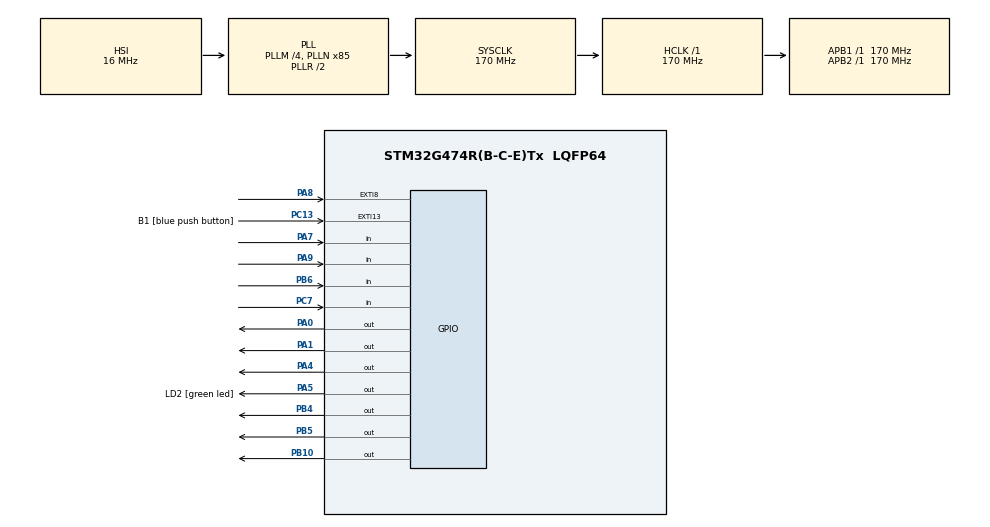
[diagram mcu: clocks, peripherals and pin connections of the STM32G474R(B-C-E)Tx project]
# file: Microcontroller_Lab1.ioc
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Mcu.Family=STM32G4
Mcu.Name=STM32G474R(B-C-E)Tx
Mcu.Package=LQFP64
NVIC.EXTI15_10_IRQn=true\:0\:0\:false\:false\:true\:true\:true\:true
NVIC.EXTI9_5_IRQn=true\:0\:0\:false\:false\:true\:true\:true\:true
NVIC.PriorityGroup=NVIC_PRIORITYGROUP_4
PA0.Signal=GPIO_Output
PA1.Signal=GPIO_Output
PA13.GPIO_Label=T_SWDIO
PA13.Signal=SYS_JTMS-SWDIO
PA14.GPIO_Label=T_SWCLK
PA14.Signal=SYS_JTCK-SWCLK
PA2.GPIO_Label=LPUART1_TX [STLINKV3E_VCP_RX]
PA2.Signal=LPUART1_TX
PA3.GPIO_Label=LPUART1_RX [STLINKV3E_VCP_TX]
PA3.Signal=LPUART1_RX
PA4.Signal=GPIO_Output
PA5.GPIO_Label=LD2 [green led]
PA5.Signal=GPIO_Output
PA7.GPIO_PuPd=GPIO_PULLUP
PA7.Signal=GPIO_Input
PA8.GPIO_ModeDefaultEXTI=GPIO_MODE_IT_RISING
PA8.Signal=GPXTI8
PA9.GPIO_Mode=GPIO_MODE_INPUT
PA9.GPIO_PuPd=GPIO_PULLUP
PA9.Signal=GPIO_Input
PB10.GPIO_ModeDefaultOutputPP=GPIO_MODE_OUTPUT_OD
PB10.GPIO_PuPd=GPIO_NOPULL
PB10.Signal=GPIO_Output
PB3.GPIO_Label=T_SWO
PB3.Signal=SYS_JTDO-SWO
PB4.GPIO_ModeDefaultOutputPP=GPIO_MODE_OUTPUT_OD
PB4.GPIO_PuPd=GPIO_NOPULL
PB4.Signal=GPIO_Output
PB5.GPIO_ModeDefaultOutputPP=GPIO_MODE_OUTPUT_OD
PB5.GPIO_PuPd=GPIO_NOPULL
PB5.Signal=GPIO_Output
PB6.GPIO_PuPd=GPIO_PULLUP
PB6.Signal=GPIO_Input
PC13.GPIO_Label=B1 [blue push button]
PC13.Signal=GPXTI13
PC14-OSC32_IN.GPIO_Label=RCC_OSC32_IN
PC14-OSC32_IN.Signal=RCC_OSC32_IN
PC15-OSC32_OUT.GPIO_Label=RCC_OSC32_OUT
PC15-OSC32_OUT.Signal=RCC_OSC32_OUT
PC7.GPIO_PuPd=GPIO_PULLUP
PC7.Signal=GPIO_Input
PF0-OSC_IN.GPIO_Label=RCC_OSC_IN
PF0-OSC_IN.Signal=RCC_OSC_IN
PF1-OSC_OUT.GPIO_Label=RCC_OSC_OUT
PF1-OSC_OUT.Signal=RCC_OSC_OUT
ProjectManager.HeapSize=0x200
ProjectManager.StackSize=0x400
ProjectManager.TargetToolchain=STM32CubeIDE
RCC.ADC12Freq_Value=170000000
RCC.ADC345Freq_Value=170000000
RCC.AHBFreq_Value=170000000
RCC.APB1Freq_Value=170000000
RCC.APB1TimFreq_Value=170000000
RCC.APB2Freq_Value=170000000
RCC.APB2TimFreq_Value=170000000
RCC.CortexFreq_Value=170000000
RCC.EXTERNAL_CLOCK_VALUE=12288000
RCC.HCLKFreq_Value=170000000
RCC.HSE_VALUE=24000000
RCC.HSI48_VALUE=48000000
RCC.HSI_VALUE=16000000
RCC.LSE_VALUE=32768
RCC.PLLM=RCC_PLLM_DIV4
RCC.PLLN=85
RCC.RTCClockSelection=RCC_RTCCLKSOURCE_LSE
RCC.SYSCLKFreq_VALUE=170000000
RCC.SYSCLKSource=RCC_SYSCLKSOURCE_PLLCLK
RCC.USBFreq_Value=170000000
RCC.VCOOutputFreq_Value=340000000
VP_SYS_VS_DBSignals.Mode=DisableDeadBatterySignals
board=NUCLEO-G474RE

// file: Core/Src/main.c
/* USER CODE BEGIN Header */
/**
 ******************************************************************************
 * @file           : main.c
 * @brief          : Main program body
 ******************************************************************************
 * @attention
 *
 * Copyright (c) 2025 STMicroelectronics.
 * All rights reserved.
 *
 * This software is licensed under terms that can be found in the LICENSE file
 * in the root directory of this software component.
 * If no LICENSE file comes with this software, it is provided AS-IS.
 *
 ******************************************************************************
 */
/* USER CODE END Header */
#include "main.h"

/* USER CODE BEGIN PV */
struct _ButMtx_Struct {
	GPIO_TypeDef *Port;
	uint16_t Pin;
};

struct _ButMtx_Struct BMX_L[4] = { { GPIOA, GPIO_PIN_9 }, { GPIOC, GPIO_PIN_7 },
		{ GPIOB, GPIO_PIN_6 }, { GPIOA, GPIO_PIN_7 } };

struct _ButMtx_Struct BMX_R[3] = { { GPIOB, GPIO_PIN_5 }, { GPIOB, GPIO_PIN_4 },
		{ GPIOB, GPIO_PIN_10 } };

uint16_t ButtonState = 0;
uint16_t input = 0;
int inputCount = 0;
int MAX_INPUT = 11;
int state_input = 0;
int state_check = 0;
int correct_count = 0;
int wrong_count = 0;
uint16_t States_input[4] = { 0, 0, 0, 0 };
uint16_t pressedValues[11];
uint16_t password[11] = { 6, 7, 3, 4, 0, 5, 0, 0, 0, 3, 2 };
/* USER CODE END PV */

void SystemClock_Config(void);
static void MX_GPIO_Init(void);
/* USER CODE BEGIN PFP */
void ButtonMatrixRead();
int getButtonInde();
int getButtonIndex(uint16_t ButtonState);
void getOutput(int value);
void getLed(uint16_t States_input[4]);
/* USER CODE END PFP */

int main(void)
{

  /* MCU Configuration--------------------------------------------------------*/

  /* Reset of all peripherals, Initializes the Flash interface and the Systick. */
  HAL_Init();

  /* Configure the system clock */
  SystemClock_Config();

  /* Initialize all configured peripherals */
  MX_GPIO_Init();
  /* USER CODE BEGIN 2 */
	getOutput(0);
  /* USER CODE END 2 */

  /* Infinite loop */
	while (1) {

    /* USER CODE BEGIN 3 */
		static uint32_t BTMX_TimeStamp = 0;
		if (HAL_GetTick() > BTMX_TimeStamp) {
			BTMX_TimeStamp = HAL_GetTick() + 25;
			ButtonMatrixRead();
			input = getButtonIndex(ButtonState);
		}
		if (input == 12) {
			state_input = 0;
		}
		if (input != 12 && input != 10 && state_input == 0) {
//			getOutput(input);
			if (inputCount < MAX_INPUT && input != 11) {
				pressedValues[inputCount] = input;
				inputCount++;
				state_check = 0;
			} else {
				if (input == 11 && !state_check && inputCount >= MAX_INPUT) {
					state_check = 1;
					for (int i = 0; i < MAX_INPUT; i++) {
						if (pressedValues[i] == password[i]) {
							correct_count += 1;
							if (correct_count == 11) {
								wrong_count = 4;
								getOutput(wrong_count);
							}
						} else {
							wrong_count += 1;
							correct_count = 0;
							inputCount = 0;
							for (int i = 0; i < MAX_INPUT; i++) {
								pressedValues[i] = 0;
							}
							getOutput(wrong_count);
							break;
						}
					}
				}
			}
			state_input = 1;
		}

	}

  /* USER CODE END 3 */
}

void SystemClock_Config(void)
{
  RCC_OscInitTypeDef RCC_OscInitStruct = {0};
  RCC_ClkInitTypeDef RCC_ClkInitStruct = {0};

  /** Configure the main internal regulator output voltage
  */
  HAL_PWREx_ControlVoltageScaling(PWR_REGULATOR_VOLTAGE_SCALE1_BOOST);

  /** Initializes the RCC Oscillators according to the specified parameters
  * in the RCC_OscInitTypeDef structure.
  */
  RCC_OscInitStruct.OscillatorType = RCC_OSCILLATORTYPE_HSI;
  RCC_OscInitStruct.HSIState = RCC_HSI_ON;
  RCC_OscInitStruct.HSICalibrationValue = RCC_HSICALIBRATION_DEFAULT;
  RCC_OscInitStruct.PLL.PLLState = RCC_PLL_ON;
  RCC_OscInitStruct.PLL.PLLSource = RCC_PLLSOURCE_HSI;
  RCC_OscInitStruct.PLL.PLLM = RCC_PLLM_DIV4;
  RCC_OscInitStruct.PLL.PLLN = 85;
  RCC_OscInitStruct.PLL.PLLP = RCC_PLLP_DIV2;
  RCC_OscInitStruct.PLL.PLLQ = RCC_PLLQ_DIV2;
  RCC_OscInitStruct.PLL.PLLR = RCC_PLLR_DIV2;
  if (HAL_RCC_OscConfig(&RCC_OscInitStruct) != HAL_OK)
  {
    Error_Handler();
  }

  /** Initializes the CPU, AHB and APB buses clocks
  */
  RCC_ClkInitStruct.ClockType = RCC_CLOCKTYPE_HCLK|RCC_CLOCKTYPE_SYSCLK
                              |RCC_CLOCKTYPE_PCLK1|RCC_CLOCKTYPE_PCLK2;
  RCC_ClkInitStruct.SYSCLKSource = RCC_SYSCLKSOURCE_PLLCLK;
  RCC_ClkInitStruct.AHBCLKDivider = RCC_SYSCLK_DIV1;
  RCC_ClkInitStruct.APB1CLKDivider = RCC_HCLK_DIV1;
  RCC_ClkInitStruct.APB2CLKDivider = RCC_HCLK_DIV1;

  if (HAL_RCC_ClockConfig(&RCC_ClkInitStruct, FLASH_LATENCY_4) != HAL_OK)
  {
    Error_Handler();
  }
}

static void MX_GPIO_Init(void)
{
  GPIO_InitTypeDef GPIO_InitStruct = {0};

  /* GPIO Ports Clock Enable */
  __HAL_RCC_GPIOC_CLK_ENABLE();
  __HAL_RCC_GPIOF_CLK_ENABLE();
  __HAL_RCC_GPIOA_CLK_ENABLE();
  __HAL_RCC_GPIOB_CLK_ENABLE();

  /*Configure GPIO pin Output Level */
  HAL_GPIO_WritePin(GPIOA, GPIO_PIN_0|GPIO_PIN_1|GPIO_PIN_4|LD2_Pin, GPIO_PIN_RESET);

  /*Configure GPIO pin Output Level */
  HAL_GPIO_WritePin(GPIOB, GPIO_PIN_10|GPIO_PIN_4|GPIO_PIN_5, GPIO_PIN_RESET);

  /*Configure GPIO pin : B1_Pin */
  GPIO_InitStruct.Pin = B1_Pin;
  GPIO_InitStruct.Mode = GPIO_MODE_IT_RISING;
  GPIO_InitStruct.Pull = GPIO_NOPULL;
  HAL_GPIO_Init(B1_GPIO_Port, &GPIO_InitStruct);

  /*Configure GPIO pins : PA0 PA1 PA4 LD2_Pin */
  GPIO_InitStruct.Pin = GPIO_PIN_0|GPIO_PIN_1|GPIO_PIN_4|LD2_Pin;
  GPIO_InitStruct.Mode = GPIO_MODE_OUTPUT_PP;
  GPIO_InitStruct.Pull = GPIO_NOPULL;
  GPIO_InitStruct.Speed = GPIO_SPEED_FREQ_LOW;
  HAL_GPIO_Init(GPIOA, &GPIO_InitStruct);

  /*Configure GPIO pins : LPUART1_TX_Pin LPUART1_RX_Pin */
  GPIO_InitStruct.Pin = LPUART1_TX_Pin|LPUART1_RX_Pin;
  GPIO_InitStruct.Mode = GPIO_MODE_AF_PP;
  GPIO_InitStruct.Pull = GPIO_NOPULL;
  GPIO_InitStruct.Speed = GPIO_SPEED_FREQ_LOW;
  GPIO_InitStruct.Alternate = GPIO_AF12_LPUART1;
  HAL_GPIO_Init(GPIOA, &GPIO_InitStruct);

  /*Configure GPIO pins : PA7 PA9 */
  GPIO_InitStruct.Pin = GPIO_PIN_7|GPIO_PIN_9;
  GPIO_InitStruct.Mode = GPIO_MODE_INPUT;
  GPIO_InitStruct.Pull = GPIO_PULLUP;
  HAL_GPIO_Init(GPIOA, &GPIO_InitStruct);

  /*Configure GPIO pins : PB10 PB4 PB5 */
  GPIO_InitStruct.Pin = GPIO_PIN_10|GPIO_PIN_4|GPIO_PIN_5;
  GPIO_InitStruct.Mode = GPIO_MODE_OUTPUT_OD;
  GPIO_InitStruct.Pull = GPIO_NOPULL;
  GPIO_InitStruct.Speed = GPIO_SPEED_FREQ_LOW;
  HAL_GPIO_Init(GPIOB, &GPIO_InitStruct);

  /*Configure GPIO pin : PC7 */
  GPIO_InitStruct.Pin = GPIO_PIN_7;
  GPIO_InitStruct.Mode = GPIO_MODE_INPUT;
  GPIO_InitStruct.Pull = GPIO_PULLUP;
  HAL_GPIO_Init(GPIOC, &GPIO_InitStruct);

  /*Configure GPIO pin : PA8 */
  GPIO_InitStruct.Pin = GPIO_PIN_8;
  GPIO_InitStruct.Mode = GPIO_MODE_IT_RISING;
  GPIO_InitStruct.Pull = GPIO_NOPULL;
  HAL_GPIO_Init(GPIOA, &GPIO_InitStruct);

  /*Configure GPIO pin : PB6 */
  GPIO_InitStruct.Pin = GPIO_PIN_6;
  GPIO_InitStruct.Mode = GPIO_MODE_INPUT;
  GPIO_InitStruct.Pull = GPIO_PULLUP;
  HAL_GPIO_Init(GPIOB, &GPIO_InitStruct);

  /* EXTI interrupt init*/
  HAL_NVIC_SetPriority(EXTI9_5_IRQn, 0, 0);
  HAL_NVIC_EnableIRQ(EXTI9_5_IRQn);

  HAL_NVIC_SetPriority(EXTI15_10_IRQn, 0, 0);
  HAL_NVIC_EnableIRQ(EXTI15_10_IRQn);

}

/* USER CODE BEGIN 4 */
void HAL_GPIO_EXTI_Callback(uint16_t GPIO_Pin) {
	if (GPIO_Pin == GPIO_PIN_13 || GPIO_Pin == GPIO_PIN_8) {
		HAL_GPIO_TogglePin(GPIOA, GPIO_PIN_5);
		for (int i = 0; i < 13; i++) {
			pressedValues[i] = 0;
		}
		inputCount = 0;
		state_input = 0;
		state_check = 0;
		correct_count = 0;
		wrong_count = 0;
//		getOutput(wrong_count);
//		getLed(States_input);

	}
}

void ButtonMatrixRead() {
	static uint8_t X = 0;
	for (int i = 0; i < 4; i++) {
		if (HAL_GPIO_ReadPin(BMX_L[i].Port, BMX_L[i].Pin) == GPIO_PIN_RESET) {
			ButtonState |= 1 << (i + (X * 4));
		} else {
			ButtonState &= ~(1 << (i + (X * 4)));
		}
	}

	HAL_GPIO_WritePin(BMX_R[X].Port, BMX_R[X].Pin, GPIO_PIN_SET);

	uint8_t nextX = (X + 1) % 3;
	HAL_GPIO_WritePin(BMX_R[nextX].Port, BMX_R[nextX].Pin, GPIO_PIN_RESET);
	X = nextX;
}

int getButtonIndex(uint16_t value) {
	switch (value) {
	case 8:
		return 0;
	case 4:
		return 1;
	case 64:
		return 2;
	case 1024:
		return 3;
	case 2:
		return 4;
	case 32:
		return 5;
	case 512:
		return 6;
	case 1:
		return 7;
	case 16:
		return 8;
	case 256:
		return 9;
	case 128:
		return 10;
	case 2048:
		return 11;
	default:
		return 12;
	}
}
void getOutput(int value) {
	switch (value) {
	case 0:
		States_input[0] = 1;
		States_input[1] = 1;
		States_input[2] = 1;
		States_input[3] = 1;
		break;
	case 1:
		States_input[0] = 1;
		States_input[1] = 0;
		States_input[2] = 1;
		States_input[3] = 1;
		break;
	case 2:
		States_input[0] = 1;
		States_input[1] = 0;
		States_input[2] = 0;
		States_input[3] = 1;
		break;
	case 3:
		States_input[0] = 1;
		States_input[1] = 0;
		States_input[2] = 0;
		States_input[3] = 0;
		getLed(States_input);
		while (1) {
		}
		break;
	case 4:
		States_input[0] = 0;
		States_input[1] = 1;
		States_input[2] = 1;
		States_input[3] = 1;
		break;
	default:
		break;
	}
	getLed(States_input);
}

void getLed(uint16_t States_input[4]) {
	HAL_GPIO_WritePin(GPIOA, GPIO_PIN_4, 0);
	HAL_Delay(100);
	for (int i = 0; i < 4; i++) {
		HAL_GPIO_WritePin(GPIOA, GPIO_PIN_1, 0);
		HAL_GPIO_WritePin(GPIOA, GPIO_PIN_0, States_input[i]);
		HAL_Delay(100);
		HAL_GPIO_TogglePin(GPIOA, GPIO_PIN_1);
		HAL_Delay(100);
	}
	HAL_GPIO_WritePin(GPIOA, GPIO_PIN_4, 1);
	HAL_Delay(100);
}

/* USER CODE END 4 */

void Error_Handler(void)
{
	__disable_irq();
	while (1) {
	}
}
